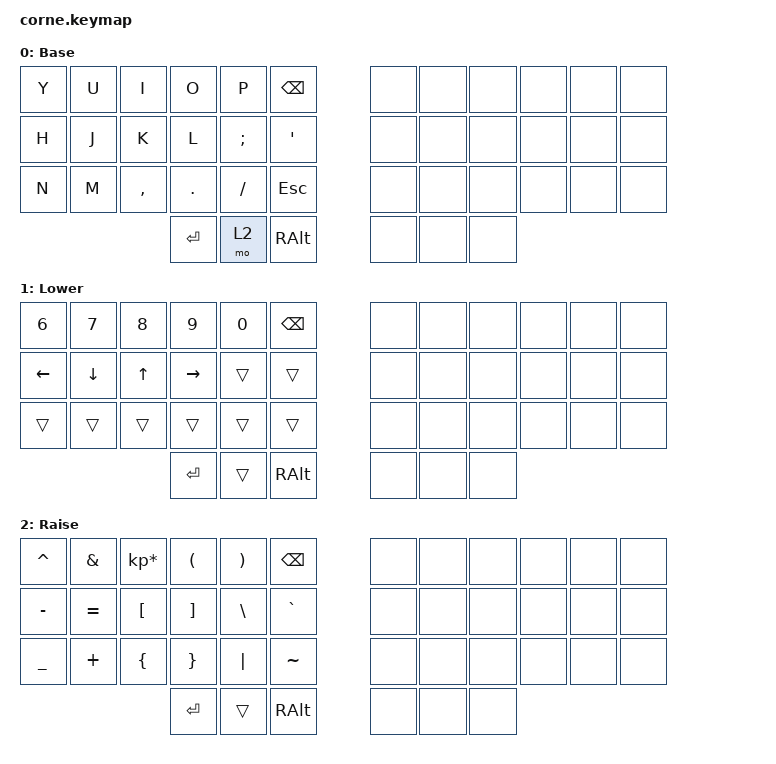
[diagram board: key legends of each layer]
/*
 * Copyright (c) 2020 The ZMK Contributors
 *
 * SPDX-License-Identifier: MIT
 */

#include <behaviors.dtsi>
#include <dt-bindings/zmk/keys.h>
#include <dt-bindings/zmk/bt.h>

#define ____ &none

/ {
        keymap {
                compatible = "zmk,keymap";

                default_layer {
// -----------------------------------------------------------------------------------------
// |  TAB |  Q  |  W  |  E  |  R  |  T  |   |  Y  |  U   |  I  |  O  |  P  | BKSP |
// | CTRL |  A  |  S  |  D  |  F  |  G  |   |  H  |  J   |  K  |  L  |  ;  |  '   |
// | SHFT |  Z  |  X  |  C  |  V  |  B  |   |  N  |  M   |  ,  |  .  |  /  | ESC  |
//                    | GUI | LWR | SPC |   | ENT | RSE  | ALT |
                        display-name = "Base";
                        bindings = <
   &kp Y &kp U &kp I &kp O &kp P &kp BSPC   ____ ____ ____ ____ ____ ____
   &kp H &kp J &kp K &kp L &kp SEMI &kp SQT  ____ ____ ____ ____ ____ ____
   &kp N &kp M &kp COMMA &kp DOT &kp FSLH &kp ESC   ____ ____ ____ ____ ____ ____
                  &kp RET &mo 2 &kp RALT   ____ ____ ____
                        >;
                };
                lower_layer {
// -----------------------------------------------------------------------------------------
// |  TAB |  1  |  2  |  3  |  4  |  5  |   |  6  |  7  |  8  |  9  |  0  | BKSP |
// | BTCLR| BT1 | BT2 | BT3 | BT4 | BT5 |   | LFT | DWN |  UP | RGT |     |      |
// | SHFT |     |     |     |     |     |   |     |     |     |     |     |      |
//                    | GUI |     | SPC |   | ENT |     | ALT |
                        display-name = "Lower";
                        bindings = <
   &kp N6   &kp N7   &kp N8 &kp N9 &kp N0 &kp BSPC   ____ ____ ____ ____ ____ ____
   &kp LEFT &kp DOWN &kp UP &kp RIGHT &trans &trans   ____ ____ ____ ____ ____ ____
   &trans   &trans   &trans &trans    &trans &trans   ____ ____ ____ ____ ____ ____
                          	        &kp RET      &trans       &kp RALT      ____ ____ ____
                        >;
                };

                raise_layer {
// -----------------------------------------------------------------------------------------
// |  TAB |  !  |  @  |  #  |  $  |  %  |   |  ^  |  &  |  *  |  (  |  )  | BKSP |
// | CTRL |     |     |     |     |     |   |  -  |  =  |  [  |  ]  |  \  |  `   |
// | SHFT |     |     |     |     |     |   |  _  |  +  |  {  |  }  | "|" |  ~   |
//                    | GUI |     | SPC |   | ENT |     | ALT |
                        display-name = "Raise";
                        bindings = <
   &kp CARET &kp AMPS &kp KP_MULTIPLY &kp LPAR &kp RPAR &kp BSPC   ____ ____ ____ ____ ____ ____
   &kp MINUS &kp EQUAL &kp LBKT &kp RBKT &kp BSLH &kp GRAVE   ____ ____ ____ ____ ____ ____
   &kp UNDER &kp PLUS &kp LBRC &kp RBRC &kp PIPE &kp TILDE   ____ ____ ____ ____ ____ ____
                     	     &kp RET &trans   &kp RALT   ____   ____    ____
                        >;
                };

                extra_1 {
                        status = "reserved";
                };

                extra_2 {
                        status = "reserved";
                };

                extra_3 {
                        status = "reserved";
                };
        };
};
